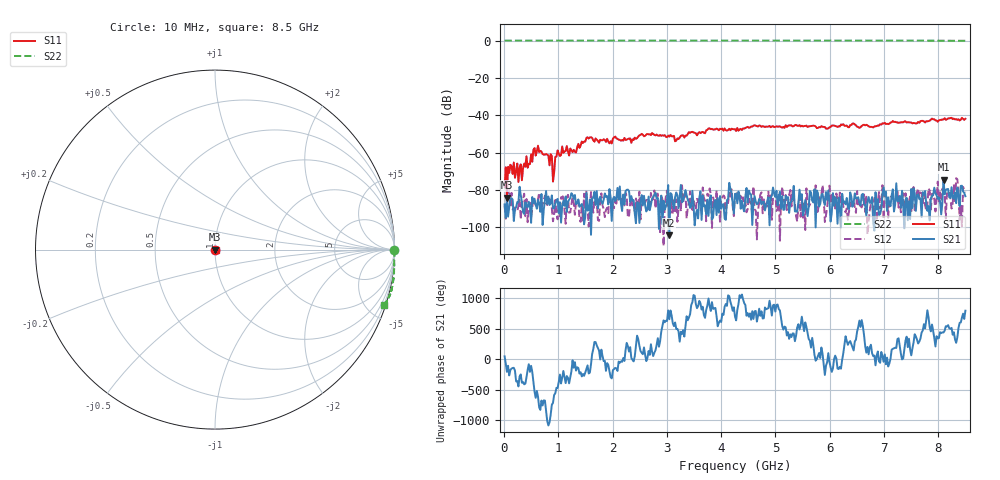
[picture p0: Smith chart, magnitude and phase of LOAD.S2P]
!Agilent Technologies,E5071C,MY46101917,A.08.10
!Date: Mon Jan 01 01:05:39 2001
!Data & Calibration Information:
!Freq	S11:SOLT2(ON)	S21:SOLT2(ON)	S12:SOLT2(ON)	S22:SOLT2(ON)
# Hz S dB R 50
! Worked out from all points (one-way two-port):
!   401 points, 10 MHz to 8.5 GHz, reference 50 ohm
!   highest |S21| = -74.39 dB at 8.097 GHz (marker M1); lowest = -104.2 dB at 3.045 GHz (marker M2)
!   lowest |S11| = -84.0 dB at 52.45 MHz (marker M3), VSWR 1.00, Z = 50 - j0.0063 ohm
!   |S11| at or under -10 dB: start of sweep to end of sweep
!   |S22| runs from -0.1 to 0.1 dB; largest |S21 - S12| = 0.00023
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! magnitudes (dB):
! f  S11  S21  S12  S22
! 10 MHz  -78.5  -87.6  -88.2  0.0
! 52.45 MHz  -84.0  -83.7  -83.9  0.0
! 137.3 MHz  -67.2  -84.3  -81.4  0.0
! 307.1 MHz  -66.2  -82.6  -95.7  0.0
! 583.1 MHz  -61.5  -87.8  -88.1  0.0
! 837.8 MHz  -66.7  -88.0  -84.9  0.0
! 880.2 MHz  -61.7  -82.8  -89.9  0.0
! 1.029 GHz  -61.8  -86.5  -94.0  0.0
! 1.284 GHz  -58.5  -84.7  -86.7  0.0
! 1.432 GHz  -54.0  -87.5  -87.2  0.0
! 1.559 GHz  -52.4  -90.7  -99.5  0.0
! 1.963 GHz  -53.9  -83.7  -85.1  0.0
! 2.854 GHz  -50.9  -100.8  -88.0  0.0
! 3.045 GHz  -51.4  -104.2  -83.7  0.0
! 3.194 GHz  -52.4  -82.8  -96.9  0.0
! 3.788 GHz  -47.0  -84.7  -79.1  0.1
! 4.255 GHz  -47.4  -82.0  -82.1  0.1
! 5.677 GHz  -45.6  -85.6  -84.3  0.1
! 7.099 GHz  -44.4  -87.5  -85.0  0.0
! 8.097 GHz  -42.2  -74.4  -82.4  0.0
! 8.33 GHz  -42.0  -87.0  -73.6  -0.1
! 8.5 GHz  -41.9  -83.3  -81.3  -0.1
